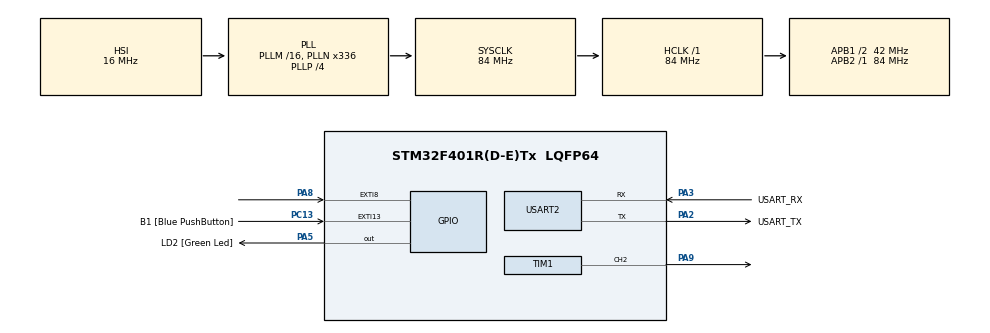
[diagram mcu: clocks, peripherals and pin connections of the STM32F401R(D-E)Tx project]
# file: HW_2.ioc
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Mcu.Family=STM32F4
Mcu.Name=STM32F401R(D-E)Tx
Mcu.Package=LQFP64
NVIC.EXTI9_5_IRQn=true\:0\:0\:false\:false\:true\:true\:true\:true
NVIC.PriorityGroup=NVIC_PRIORITYGROUP_0
PA13.GPIO_Label=TMS
PA13.Mode=Serial_Wire
PA13.Signal=SYS_JTMS-SWDIO
PA14.GPIO_Label=TCK
PA14.Mode=Serial_Wire
PA14.Signal=SYS_JTCK-SWCLK
PA2.GPIO_Label=USART_TX
PA2.GPIO_Mode=GPIO_MODE_AF_PP
PA2.GPIO_PuPd=GPIO_NOPULL
PA2.GPIO_Speed=GPIO_SPEED_FREQ_LOW
PA2.Mode=Asynchronous
PA2.Signal=USART2_TX
PA3.GPIO_Label=USART_RX
PA3.GPIO_Mode=GPIO_MODE_AF_PP
PA3.GPIO_PuPd=GPIO_NOPULL
PA3.GPIO_Speed=GPIO_SPEED_FREQ_LOW
PA3.Mode=Asynchronous
PA3.Signal=USART2_RX
PA5.GPIO_Label=LD2 [Green Led]
PA5.GPIO_Mode=GPIO_MODE_OUTPUT_PP
PA5.GPIO_PuPd=GPIO_NOPULL
PA5.GPIO_Speed=GPIO_SPEED_FREQ_LOW
PA5.Signal=GPIO_Output
PA8.Signal=GPXTI8
PA9.Signal=S_TIM1_CH2
PB3.GPIO_Label=SWO
PB3.Signal=SYS_JTDO-SWO
PC13-ANTI_TAMP.GPIO_Label=B1 [Blue PushButton]
PC13-ANTI_TAMP.GPIO_ModeDefaultEXTI=GPIO_MODE_IT_FALLING
PC13-ANTI_TAMP.GPIO_PuPd=GPIO_NOPULL
PC13-ANTI_TAMP.Signal=GPXTI13
PC14-OSC32_IN.Mode=LSE-External-Oscillator
PC14-OSC32_IN.Signal=RCC_OSC32_IN
PC15-OSC32_OUT.Mode=LSE-External-Oscillator
PC15-OSC32_OUT.Signal=RCC_OSC32_OUT
PH0\ -\ OSC_IN.Mode=HSE-External-Clock-Source
PH0\ -\ OSC_IN.Signal=RCC_OSC_IN
PH1\ -\ OSC_OUT.Mode=HSE-External-Clock-Source
PH1\ -\ OSC_OUT.Signal=RCC_OSC_OUT
ProjectManager.HeapSize=0x200
ProjectManager.StackSize=0x400
ProjectManager.TargetToolchain=STM32CubeIDE
RCC.48MHZClocksFreq_Value=48000000
RCC.AHBFreq_Value=84000000
RCC.APB1CLKDivider=RCC_HCLK_DIV2
RCC.APB1Freq_Value=42000000
RCC.APB1TimFreq_Value=84000000
RCC.APB2Freq_Value=84000000
RCC.APB2TimFreq_Value=84000000
RCC.CortexFreq_Value=84000000
RCC.HCLKFreq_Value=84000000
RCC.HSE_VALUE=8000000
RCC.HSI_VALUE=16000000
RCC.PLLN=336
RCC.PLLP=RCC_PLLP_DIV4
RCC.PLLQ=7
RCC.SYSCLKFreq_VALUE=84000000
RCC.SYSCLKSource=RCC_SYSCLKSOURCE_PLLCLK
RCC.VCOOutputFreq_Value=336000000
SH.S_TIM1_CH2.0=TIM1_CH2,PWM Generation2 CH2
TIM1.Channel-PWM\ Generation2\ CH2=TIM_CHANNEL_2
TIM1.Prescaler=100-1
USART2.VirtualMode=VM_ASYNC
board=NUCLEO-F401RE

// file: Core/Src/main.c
/* USER CODE BEGIN Header */
/**
  ******************************************************************************
  * @file           : main.c
  * @brief          : Main program body
  ******************************************************************************
  * @attention
  *
  * Copyright (c) 2022 STMicroelectronics.
  * All rights reserved.
  *
  * This software is licensed under terms that can be found in the LICENSE file
  * in the root directory of this software component.
  * If no LICENSE file comes with this software, it is provided AS-IS.
  *
  ******************************************************************************
  */
/* USER CODE END Header */
#include "main.h"

/* USER CODE BEGIN PTD */
struct note{
		int tone;
		int duration;
	};

/* USER CODE END PTD */

/* USER CODE BEGIN PD */
/*Defining pwm period of notes */
#define _DO4 	3205
#define _DOD4 	3031
#define _RE4 	2856
#define _RED4 	2699
#define _MI4 	2544
#define _FA4 	2404
#define _FAD4	2269
#define _SOL4 	2141
#define _SOLD4	2023
#define _LA4	1908
#define _LAD4 	1801
#define	_SI4 	1699

/*defining division duration*/
#define div 75

/* USER CODE END PD */

TIM_HandleTypeDef htim1;

UART_HandleTypeDef huart2;

/* USER CODE BEGIN PV */

	struct note score[] = {
			{_SOL4,6},
			{_LA4, 2},
			{_SOL4,4},
			{_FA4, 4},

			{_MI4, 4},
			{_FA4, 4},
			{_SOL4,8},

			{_RE4, 4},
			{_MI4, 4},
			{_FA4, 8},

			{_MI4, 4},
			{_FA4, 4},
			{_SOL4,8},

			{_SOL4,6},
			{_LA4, 2},
			{_SOL4,4},
			{_FA4, 4},

			{_MI4, 4},
			{_FA4, 4},
			{_SOL4,8},

			{_RE4, 8},
			{_SOL4,8},

			{_MI4, 4},
			{_DO4, 8}

	};

/* USER CODE END PV */

void SystemClock_Config(void);
static void MX_GPIO_Init(void);
static void MX_USART2_UART_Init(void);
static void MX_TIM1_Init(void);

/* USER CODE BEGIN 0 */

int start_song = 0;

void playnote(struct note song_playing){
		//set note parameters in the PWM
		__HAL_TIM_SET_AUTORELOAD(&htim1, song_playing.tone);
		__HAL_TIM_SET_COMPARE(&htim1,TIM_CHANNEL_2, song_playing.tone/2);
		__HAL_TIM_SET_COUNTER(&htim1, 0);

		//start sound
		HAL_TIM_PWM_Start(&htim1,TIM_CHANNEL_2);

		//Use of HAL_Delay to make the note last as needed
		HAL_Delay(song_playing.duration*div);

		//stop the note
		HAL_TIM_PWM_Stop(&htim1,TIM_CHANNEL_2);
}

void playsong(){
	int length = sizeof(score)/sizeof(score[0]); /*defining the length of the song */

	for (int i=0; i <length;i++){
		playnote(score[i]);
	}
}

void HAL_GPIO_EXTI_Callback(uint16_t GPIO_Pin){
	start_song = 1;
}
/* USER CODE END 0 */

int main(void)
{

  /* MCU Configuration--------------------------------------------------------*/

  /* Reset of all peripherals, Initializes the Flash interface and the Systick. */
  HAL_Init();

  /* Configure the system clock */
  SystemClock_Config();

  /* Initialize all configured peripherals */
  MX_GPIO_Init();
  MX_USART2_UART_Init();
  MX_TIM1_Init();

  /* Infinite loop */
  while (1)
  {
	  if (start_song == 1){
		  playsong();
		  start_song = 0;
	  }

  }
}

void SystemClock_Config(void)
{
  RCC_OscInitTypeDef RCC_OscInitStruct = {0};
  RCC_ClkInitTypeDef RCC_ClkInitStruct = {0};

  /** Configure the main internal regulator output voltage
  */
  __HAL_RCC_PWR_CLK_ENABLE();
  __HAL_PWR_VOLTAGESCALING_CONFIG(PWR_REGULATOR_VOLTAGE_SCALE2);

  /** Initializes the RCC Oscillators according to the specified parameters
  * in the RCC_OscInitTypeDef structure.
  */
  RCC_OscInitStruct.OscillatorType = RCC_OSCILLATORTYPE_HSI;
  RCC_OscInitStruct.HSIState = RCC_HSI_ON;
  RCC_OscInitStruct.HSICalibrationValue = RCC_HSICALIBRATION_DEFAULT;
  RCC_OscInitStruct.PLL.PLLState = RCC_PLL_ON;
  RCC_OscInitStruct.PLL.PLLSource = RCC_PLLSOURCE_HSI;
  RCC_OscInitStruct.PLL.PLLM = 16;
  RCC_OscInitStruct.PLL.PLLN = 336;
  RCC_OscInitStruct.PLL.PLLP = RCC_PLLP_DIV4;
  RCC_OscInitStruct.PLL.PLLQ = 7;
  if (HAL_RCC_OscConfig(&RCC_OscInitStruct) != HAL_OK)
  {
    Error_Handler();
  }

  /** Initializes the CPU, AHB and APB buses clocks
  */
  RCC_ClkInitStruct.ClockType = RCC_CLOCKTYPE_HCLK|RCC_CLOCKTYPE_SYSCLK
                              |RCC_CLOCKTYPE_PCLK1|RCC_CLOCKTYPE_PCLK2;
  RCC_ClkInitStruct.SYSCLKSource = RCC_SYSCLKSOURCE_PLLCLK;
  RCC_ClkInitStruct.AHBCLKDivider = RCC_SYSCLK_DIV1;
  RCC_ClkInitStruct.APB1CLKDivider = RCC_HCLK_DIV2;
  RCC_ClkInitStruct.APB2CLKDivider = RCC_HCLK_DIV1;

  if (HAL_RCC_ClockConfig(&RCC_ClkInitStruct, FLASH_LATENCY_2) != HAL_OK)
  {
    Error_Handler();
  }
}

static void MX_TIM1_Init(void)
{

  TIM_MasterConfigTypeDef sMasterConfig = {0};
  TIM_OC_InitTypeDef sConfigOC = {0};
  TIM_BreakDeadTimeConfigTypeDef sBreakDeadTimeConfig = {0};

  htim1.Instance = TIM1;
  htim1.Init.Prescaler = 100-1;
  htim1.Init.CounterMode = TIM_COUNTERMODE_UP;
  htim1.Init.Period = 65535;
  htim1.Init.ClockDivision = TIM_CLOCKDIVISION_DIV1;
  htim1.Init.RepetitionCounter = 0;
  htim1.Init.AutoReloadPreload = TIM_AUTORELOAD_PRELOAD_DISABLE;
  if (HAL_TIM_PWM_Init(&htim1) != HAL_OK)
  {
    Error_Handler();
  }
  sMasterConfig.MasterOutputTrigger = TIM_TRGO_RESET;
  sMasterConfig.MasterSlaveMode = TIM_MASTERSLAVEMODE_DISABLE;
  if (HAL_TIMEx_MasterConfigSynchronization(&htim1, &sMasterConfig) != HAL_OK)
  {
    Error_Handler();
  }
  sConfigOC.OCMode = TIM_OCMODE_PWM1;
  sConfigOC.Pulse = 0;
  sConfigOC.OCPolarity = TIM_OCPOLARITY_HIGH;
  sConfigOC.OCNPolarity = TIM_OCNPOLARITY_HIGH;
  sConfigOC.OCFastMode = TIM_OCFAST_DISABLE;
  sConfigOC.OCIdleState = TIM_OCIDLESTATE_RESET;
  sConfigOC.OCNIdleState = TIM_OCNIDLESTATE_RESET;
  if (HAL_TIM_PWM_ConfigChannel(&htim1, &sConfigOC, TIM_CHANNEL_2) != HAL_OK)
  {
    Error_Handler();
  }
  sBreakDeadTimeConfig.OffStateRunMode = TIM_OSSR_DISABLE;
  sBreakDeadTimeConfig.OffStateIDLEMode = TIM_OSSI_DISABLE;
  sBreakDeadTimeConfig.LockLevel = TIM_LOCKLEVEL_OFF;
  sBreakDeadTimeConfig.DeadTime = 0;
  sBreakDeadTimeConfig.BreakState = TIM_BREAK_DISABLE;
  sBreakDeadTimeConfig.BreakPolarity = TIM_BREAKPOLARITY_HIGH;
  sBreakDeadTimeConfig.AutomaticOutput = TIM_AUTOMATICOUTPUT_DISABLE;
  if (HAL_TIMEx_ConfigBreakDeadTime(&htim1, &sBreakDeadTimeConfig) != HAL_OK)
  {
    Error_Handler();
  }
  HAL_TIM_MspPostInit(&htim1);

}

static void MX_USART2_UART_Init(void)
{

  huart2.Instance = USART2;
  huart2.Init.BaudRate = 115200;
  huart2.Init.WordLength = UART_WORDLENGTH_8B;
  huart2.Init.StopBits = UART_STOPBITS_1;
  huart2.Init.Parity = UART_PARITY_NONE;
  huart2.Init.Mode = UART_MODE_TX_RX;
  huart2.Init.HwFlowCtl = UART_HWCONTROL_NONE;
  huart2.Init.OverSampling = UART_OVERSAMPLING_16;
  if (HAL_UART_Init(&huart2) != HAL_OK)
  {
    Error_Handler();
  }

}

static void MX_GPIO_Init(void)
{
  GPIO_InitTypeDef GPIO_InitStruct = {0};

  /* GPIO Ports Clock Enable */
  __HAL_RCC_GPIOC_CLK_ENABLE();
  __HAL_RCC_GPIOH_CLK_ENABLE();
  __HAL_RCC_GPIOA_CLK_ENABLE();
  __HAL_RCC_GPIOB_CLK_ENABLE();

  /*Configure GPIO pin Output Level */
  HAL_GPIO_WritePin(LD2_GPIO_Port, LD2_Pin, GPIO_PIN_RESET);

  /*Configure GPIO pin : B1_Pin */
  GPIO_InitStruct.Pin = B1_Pin;
  GPIO_InitStruct.Mode = GPIO_MODE_IT_FALLING;
  GPIO_InitStruct.Pull = GPIO_NOPULL;
  HAL_GPIO_Init(B1_GPIO_Port, &GPIO_InitStruct);

  /*Configure GPIO pin : LD2_Pin */
  GPIO_InitStruct.Pin = LD2_Pin;
  GPIO_InitStruct.Mode = GPIO_MODE_OUTPUT_PP;
  GPIO_InitStruct.Pull = GPIO_NOPULL;
  GPIO_InitStruct.Speed = GPIO_SPEED_FREQ_LOW;
  HAL_GPIO_Init(LD2_GPIO_Port, &GPIO_InitStruct);

  /*Configure GPIO pin : PA8 */
  GPIO_InitStruct.Pin = GPIO_PIN_8;
  GPIO_InitStruct.Mode = GPIO_MODE_IT_RISING;
  GPIO_InitStruct.Pull = GPIO_NOPULL;
  HAL_GPIO_Init(GPIOA, &GPIO_InitStruct);

  /* EXTI interrupt init*/
  HAL_NVIC_SetPriority(EXTI9_5_IRQn, 0, 0);
  HAL_NVIC_EnableIRQ(EXTI9_5_IRQn);

}

void Error_Handler(void)
{
  __disable_irq();
  while (1)
  {
  }
}
